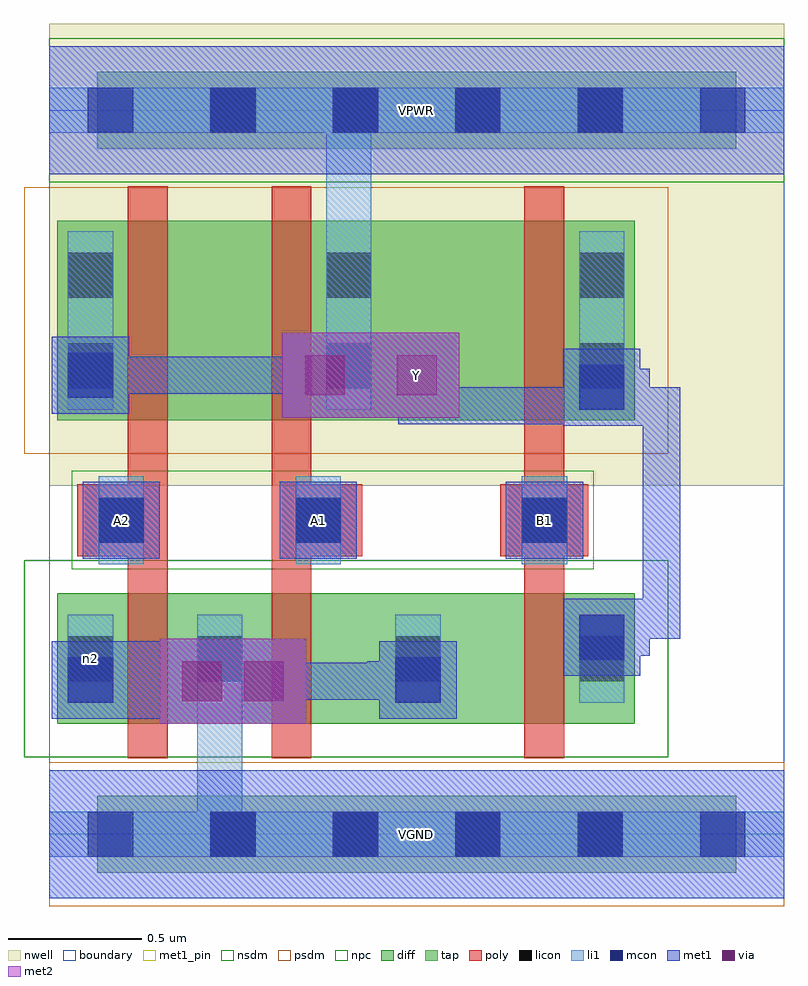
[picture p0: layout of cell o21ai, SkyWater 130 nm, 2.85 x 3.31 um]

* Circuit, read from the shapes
.subckt o21ai A1 A2 B1 VGND VPWR Y n2
XM1 VGND A2 n2 VGND sky130_fd_pr__nfet_01v8 w=0.49 l=0.15
XM2 n2 A1 VGND VGND sky130_fd_pr__nfet_01v8 w=0.49 l=0.15
XM3 Y B1 n2 VGND sky130_fd_pr__nfet_01v8 w=0.49 l=0.15
XM4 n1 A2 Y VPWR sky130_fd_pr__pfet_01v8 w=0.75 l=0.15
XM5 VPWR A1 n1 VPWR sky130_fd_pr__pfet_01v8 w=0.75 l=0.15
XM6 Y B1 VPWR VPWR sky130_fd_pr__pfet_01v8 w=0.75 l=0.15
.ends

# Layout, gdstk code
import gdstk
lib = gdstk.Library(unit=1e-6, precision=1e-09)
def R(c, l, rs):  # rectangles x0, y0, x1, y1
    for r in rs: c.add(gdstk.rectangle(r[:2], r[2:], *l))
def A(c, l, x, y, w, h, nx, ny, dx, dy):  # array of equal rectangles
    R(c, l, [(x+i*dx, y+j*dy, x+i*dx+w, y+j*dy+h) for i in range(nx) for j in range(ny)])
nwell = (64, 20)
diff = (65, 20)
tap = (65, 44)
poly = (66, 20)
licon = (66, 44)
li1 = (67, 20)
mcon = (67, 44)
met1_pin = (68, 16)
met1 = (68, 20)
via = (68, 44)
met2 = (69, 20)
nsdm = (93, 44)
psdm = (94, 20)
npc = (95, 20)
boundary = (235, 4)

o21ai = lib.new_cell('o21ai')
R(o21ai, nwell, [(0,1.31,2.76,3.045)])
R(o21ai, diff, [(0.03,0.415,2.2,0.905), (0.03,1.555,2.2,2.305)])
R(o21ai, tap, [(0.18,-0.145,2.58,0.145), (0.18,2.575,2.58,2.865)])
R(o21ai, poly, [(0.295,0.285,0.445,2.435), (0.835,0.285,0.985,2.435), (1.785,0.285,1.935,2.435), (0.105,1.045,0.435,1.315), (0.845,1.045,1.175,1.315), (1.695,1.045,2.025,1.315)])
A(o21ai, licon, 0.605, -0.085, 0.17, 0.17, 4, 2, 0.46, 2.72)
R(o21ai, licon, [(0.07,0.575,0.24,0.745), (0.555,0.575,0.725,0.745), (1.3,0.575,1.47,0.745), (1.99,0.575,2.16,0.745), (0.185,1.095,0.355,1.265), (0.925,1.095,1.095,1.265), (1.775,1.095,1.945,1.265), (0.07,1.675,0.24,1.845), (1.04,1.675,1.21,1.845), (1.99,1.675,2.16,1.845), (0.07,2.015,0.24,2.185), (1.04,2.015,1.21,2.185), (1.99,2.015,2.16,2.185)])
R(o21ai, li1, [(0,-0.085,2.76,0.085), (0.555,-0.085,0.725,0.825), (0.07,0.495,0.24,0.825), (0.555,0.495,0.725,0.825), (1.3,0.495,1.47,0.825), (1.99,0.495,2.16,0.825), (0.185,1.015,0.355,1.345), (0.925,1.015,1.095,1.345), (1.775,1.015,1.945,1.345), (0.07,1.595,0.24,2.265), (1.04,1.595,1.21,2.265), (1.04,1.595,1.21,2.805), (1.99,1.595,2.16,2.265), (0,2.635,2.76,2.805)])
A(o21ai, mcon, 0.145, -0.085, 0.17, 0.17, 6, 2, 0.46, 2.72)
R(o21ai, mcon, [(0.07,0.495,0.24,0.665), (1.3,0.495,1.47,0.665), (1.99,0.655,2.16,0.825), (0.185,1.095,0.355,1.265), (0.925,1.095,1.095,1.265), (1.775,1.095,1.945,1.265), (1.99,1.595,2.16,1.765), (0.07,1.64,0.24,1.81)])
R(o21ai, met1_pin, [(0,-0.24,2.76,0.24), (0.125,1.035,0.415,1.325), (0.865,1.035,1.155,1.325), (1.715,1.035,2.005,1.325), (1.22,1.565,1.54,1.885), (0,2.48,2.76,2.96)])
R(o21ai, met1, [(0,-0.24,2.76,0.24), (0.415,0.415,0.735,0.735), (0.645,0.415,0.965,0.735), (0.01,0.435,0.3,0.725), (0.3,0.435,0.415,0.725), (1.24,0.435,1.53,0.725), (0.275,0.505,0.415,0.65), (0.275,0.505,0.645,0.645), (0.735,0.505,1.335,0.645), (1.195,0.505,1.335,0.65), (0.085,0.51,0.415,0.65), (1.195,0.51,1.455,0.65), (1.93,0.595,2.22,0.885), (2.005,0.67,2.255,0.81), (2.115,0.67,2.255,0.875), (2.115,0.735,2.37,0.875), (2.22,0.735,2.23,0.885), (2.23,0.735,2.37,1.68), (0.125,1.035,0.415,1.325), (0.865,1.035,1.155,1.325), (1.715,1.035,2.005,1.325), (1.93,1.535,2.22,1.825), (2.22,1.535,2.23,1.68), (1.31,1.54,2.255,1.68), (1.31,1.54,1.45,1.795), (2.115,1.54,2.255,1.75), (2.115,1.54,2.37,1.68), (0.875,1.565,1.195,1.885), (1.195,1.565,1.31,1.68), (1.195,1.565,1.31,1.795), (1.195,1.565,1.22,1.885), (1.22,1.565,1.54,1.885), (0.01,1.58,0.3,1.87), (2.005,1.61,2.255,1.75), (0.085,1.655,0.415,1.795), (0.275,1.655,1.105,1.795), (1.105,1.655,1.22,1.795), (0,2.48,2.76,2.96)])
R(o21ai, via, [(0.5,0.5,0.65,0.65), (0.73,0.5,0.88,0.65), (0.96,1.65,1.11,1.8), (1.305,1.65,1.455,1.8)])
R(o21ai, met2, [(0.415,0.415,0.735,0.735), (0.645,0.415,0.965,0.735), (0.505,0.505,0.875,0.645), (0.875,1.565,1.195,1.885), (1.195,1.565,1.22,1.885), (1.22,1.565,1.54,1.885), (0.965,1.655,1.45,1.795)])
R(o21ai, nsdm, [(-0.095,0.29,2.325,1.03), (0,2.45,2.76,2.99)])
R(o21ai, psdm, [(0,-0.27,2.76,0.27), (-0.095,1.43,2.325,2.43)])
R(o21ai, npc, [(0.085,0.995,2.045,1.365)])
R(o21ai, boundary, [(0,0,2.76,2.72)])
o21ai.add(gdstk.Label('n2', (0.155,0.66), layer=67, texttype=5))
o21ai.add(gdstk.Label('A2', (0.27,1.18), layer=68, texttype=5))
o21ai.add(gdstk.Label('A1', (1.01,1.18), layer=68, texttype=5))
o21ai.add(gdstk.Label('B1', (1.86,1.18), layer=68, texttype=5))
o21ai.add(gdstk.Label('Y', (1.38,1.725), layer=68, texttype=5))
o21ai.add(gdstk.Label('VPWR', (1.38,2.72), layer=68, texttype=5))
o21ai.add(gdstk.Label('VGND', (1.38,0), layer=68, texttype=5))
o21ai.add(gdstk.Label('A2', (0.27,1.18), layer=68, texttype=16))
o21ai.add(gdstk.Label('A1', (1.01,1.18), layer=68, texttype=16))
o21ai.add(gdstk.Label('B1', (1.86,1.18), layer=68, texttype=16))
o21ai.add(gdstk.Label('Y', (1.38,1.725), layer=68, texttype=16))
o21ai.add(gdstk.Label('VPWR', (1.38,2.72), layer=68, texttype=16))
o21ai.add(gdstk.Label('VGND', (1.38,0), layer=68, texttype=16))

lib.write_gds('o21ai.gds')
